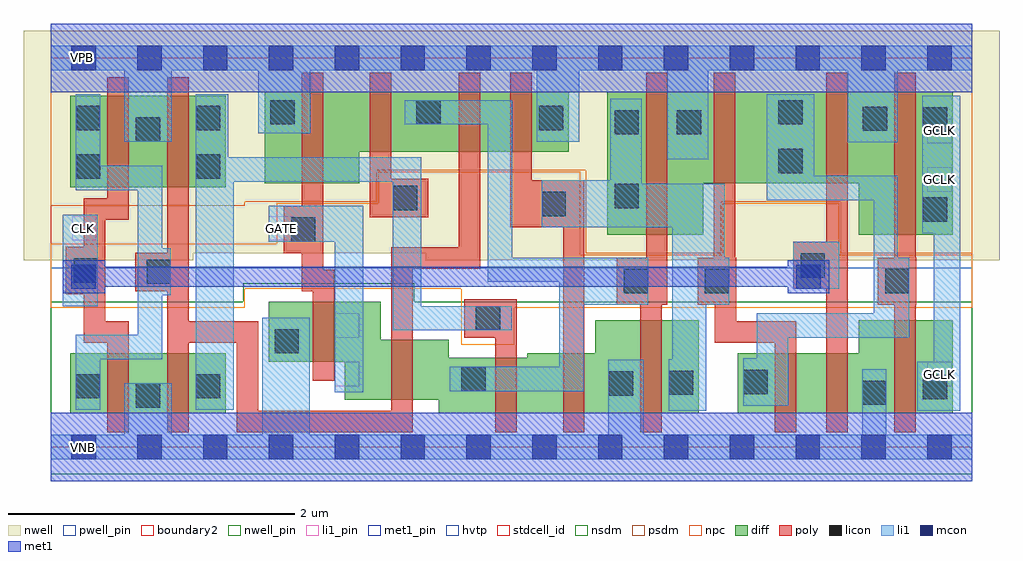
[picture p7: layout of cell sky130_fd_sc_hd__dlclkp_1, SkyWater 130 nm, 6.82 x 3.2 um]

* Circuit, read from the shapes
.subckt sky130_fd_sc_hd__dlclkp_1 CLK GATE GCLK VGND VNB VPB VPWR
XM1 VGND CLK n1 VNB sky130_fd_pr__nfet_01v8 w=0.42 l=0.15
XM2 n2 n1 VGND VNB sky130_fd_pr__nfet_01v8 w=0.42 l=0.15
XM3 n3 GATE VGND VNB sky130_fd_pr__nfet_01v8 w=0.42 l=0.15
XM4 n4 n1 n3 VNB sky130_fd_pr__nfet_01v8 w=0.42 l=0.15
XM5 n5 n2 n4 VNB sky130_fd_pr__nfet_01v8 w=0.39 l=0.15
XM6 VGND n6 n5 VNB sky130_fd_pr__nfet_01v8 w=0.42 l=0.15
XM7 n6 n4 VGND VNB sky130_fd_pr__nfet_01v8 w=0.65 l=0.15
XM8 n7 n6 n8 VNB sky130_fd_pr__nfet_01v8 w=0.42 l=0.15
XM9 VGND CLK n7 VNB sky130_fd_pr__nfet_01v8 w=0.42 l=0.15
XM10 GCLK n8 VGND VNB sky130_fd_pr__nfet_01v8 w=0.65 l=0.15
XM11 VPWR CLK n1 VPB sky130_fd_pr__pfet_01v8_hvt w=0.64 l=0.15
XM12 n2 n1 VPWR VPB sky130_fd_pr__pfet_01v8_hvt w=0.64 l=0.15
XM13 n9 GATE VPWR VPB sky130_fd_pr__pfet_01v8_hvt w=0.64 l=0.15
XM14 n4 n2 n9 VPB sky130_fd_pr__pfet_01v8_hvt w=0.42 l=0.15
XM15 n10 n1 n4 VPB sky130_fd_pr__pfet_01v8_hvt w=0.42 l=0.15
XM16 VPWR n6 n10 VPB sky130_fd_pr__pfet_01v8_hvt w=0.42 l=0.15
XM17 VPWR n4 n6 VPB sky130_fd_pr__pfet_01v8_hvt w=1 l=0.15
XM18 n8 n6 VPWR VPB sky130_fd_pr__pfet_01v8_hvt w=0.64 l=0.15
XM19 VPWR CLK n8 VPB sky130_fd_pr__pfet_01v8_hvt w=0.64 l=0.15
XM20 GCLK n8 VPWR VPB sky130_fd_pr__pfet_01v8_hvt w=1 l=0.15
.ends

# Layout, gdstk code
import gdstk
lib = gdstk.Library(unit=1e-6, precision=1e-09)
def R(c, l, rs):  # rectangles x0, y0, x1, y1
    for r in rs: c.add(gdstk.rectangle(r[:2], r[2:], *l))
def A(c, l, x, y, w, h, nx, ny, dx, dy):  # array of equal rectangles
    R(c, l, [(x+i*dx, y+j*dy, x+i*dx+w, y+j*dy+h) for i in range(nx) for j in range(ny)])
def P(c, l, *ps):  # polygons
    for p in ps: c.add(gdstk.Polygon(p, *l))
nwell_pin = (64, 16)
nwell = (64, 20)
diff = (65, 20)
poly = (66, 20)
licon = (66, 44)
li1_pin = (67, 16)
li1 = (67, 20)
mcon = (67, 44)
met1_pin = (68, 16)
met1 = (68, 20)
hvtp = (78, 44)
stdcell_id = (81, 4)
nsdm = (93, 44)
psdm = (94, 20)
npc = (95, 20)
pwell_pin = (122, 16)
boundary2 = (236, 0)

sky130_fd_sc_hd__dlclkp_ = lib.new_cell('sky130_fd_sc_hd__dlclkp_1')
R(sky130_fd_sc_hd__dlclkp_, nwell_pin, [(0.145,2.635,0.315,2.805)])
P(sky130_fd_sc_hd__dlclkp_, nwell, [(-0.19,1.305),(-0.19,2.91),(6.63,2.91),(6.63,1.305),(2.62,1.305),(2.62,1.355),(0.995,1.355),(0.995,1.305)])
R(sky130_fd_sc_hd__dlclkp_, diff, [(0.135,0.235,1.225,0.655), (0.135,1.815,1.225,2.455)])
P(sky130_fd_sc_hd__dlclkp_, diff, [(4.8,0.235),(4.8,0.655),(5.645,0.655),(5.645,0.885),(6.305,0.885),(6.305,0.235)],
  [(3.89,1.485),(3.89,2.485),(6.305,2.485),(6.305,1.485),(5.645,1.485),(5.645,1.845),(4.56,1.845),(4.56,1.485)],
  [(2.71,0.235),(2.71,0.33),(2.055,0.33),(2.055,0.595),(1.525,0.595),(1.525,1.015),(2.305,1.015),(2.305,0.75),(2.78,0.75),(2.78,0.625),(3.33,0.625),(3.33,0.655),(3.805,0.655),(3.805,0.885),(4.53,0.885),(4.53,0.235)],
  [(1.495,1.845),(1.495,2.485),(3.62,2.485),(3.62,2.065),(2.155,2.065),(2.155,1.845)])
R(sky130_fd_sc_hd__dlclkp_, poly, [(4.12,0.105,4.27,1), (3.955,0.995,4.28,1.325), (4.16,0.995,4.31,2.615), (1.755,1.355,1.905,2.615)])
P(sky130_fd_sc_hd__dlclkp_, poly, [(5.895,0.105),(5.895,0.995),(5.78,0.995),(5.78,1.325),(5.895,1.325),(5.895,2.615),(6.045,2.615),(6.045,1.325),(6.05,1.325),(6.05,0.995),(6.045,0.995),(6.045,0.105)],
  [(5.42,0.105),(5.42,1.105),(5.19,1.105),(5.19,1.435),(5.42,1.435),(5.42,2.615),(5.57,2.615),(5.57,0.105)],
  [(3.58,0.105),(3.58,1.535),(3.21,1.535),(3.21,2.615),(3.36,2.615),(3.36,1.865),(3.73,1.865),(3.73,0.105)],
  [(3.105,0.105),(3.105,0.765),(2.89,0.765),(2.89,1.035),(3.255,1.035),(3.255,0.105)],
  [(0.815,0.105),(0.815,1.09),(0.59,1.09),(0.59,1.36),(0.815,1.36),(0.815,2.585),(0.965,2.585),(0.965,0.88),(1.45,0.88),(1.45,0.255),(2.38,0.255),(2.38,1.395),(2.85,1.395),(2.85,2.615),(3,2.615),(3,1.245),(2.53,1.245),(2.53,0.105),(1.3,0.105),(1.3,0.73),(0.965,0.73),(0.965,0.105)],
  [(0.395,0.105),(0.395,0.73),(0.23,0.73),(0.23,1.07),(0.105,1.07),(0.105,1.4),(0.23,1.4),(0.23,1.74),(0.395,1.74),(0.395,2.585),(0.545,2.585),(0.545,1.59),(0.38,1.59),(0.38,0.88),(0.545,0.88),(0.545,0.105)],
  [(2.23,1.605),(2.23,2.615),(2.38,2.615),(2.38,1.875),(2.64,1.875),(2.64,1.605)],
  [(1.83,0.465),(1.83,1.09),(1.755,1.09),(1.755,1.355),(1.63,1.355),(1.63,1.685),(1.905,1.685),(1.905,1.24),(1.98,1.24),(1.98,0.465)],
  [(5.06,0.105),(5.06,0.73),(4.855,0.73),(4.855,0.88),(5.21,0.88),(5.21,0.105)],
  [(4.64,0.73),(4.64,0.995),(4.52,0.995),(4.52,1.325),(4.635,1.325),(4.635,2.615),(4.785,2.615),(4.785,1.325),(4.79,1.325),(4.79,0.88),(4.905,0.88),(4.905,0.73)])
R(sky130_fd_sc_hd__dlclkp_, licon, [(0.595,0.275,0.765,0.445), (5.67,0.295,5.84,0.465), (6.095,0.335,6.265,0.505), (0.175,0.34,0.345,0.51), (1.015,0.34,1.185,0.51), (3.9,0.36,4.07,0.53), (4.32,0.365,4.49,0.535), (4.84,0.37,5.01,0.54), (2.87,0.39,3.04,0.56), (1.565,0.655,1.735,0.825), (2.97,0.815,3.14,0.985), (4.005,1.075,4.175,1.245), (4.57,1.075,4.74,1.245), (5.83,1.075,6,1.245), (0.67,1.14,0.84,1.31), (0.16,1.15,0.33,1.32), (5.24,1.185,5.41,1.355), (1.68,1.435,1.85,1.605), (6.095,1.575,6.265,1.745), (3.43,1.615,3.6,1.785), (2.39,1.655,2.56,1.825), (3.94,1.67,4.11,1.84), (0.175,1.875,0.345,2.045), (1.015,1.875,1.185,2.045), (5.085,1.915,5.255,2.085), (0.595,2.135,0.765,2.305), (3.94,2.185,4.11,2.355), (4.375,2.185,4.545,2.355), (6.095,2.205,6.265,2.375), (5.675,2.21,5.845,2.38), (0.175,2.215,0.345,2.385), (1.015,2.215,1.185,2.385), (3.41,2.215,3.58,2.385), (1.535,2.255,1.705,2.425), (2.555,2.255,2.725,2.425), (5.085,2.255,5.255,2.425)])
R(sky130_fd_sc_hd__dlclkp_, li1_pin, [(1.985,0.425,2.155,0.595), (6.125,0.425,6.295,0.595), (1.985,0.765,2.155,0.935), (0.15,1.445,0.32,1.615), (1.525,1.445,1.695,1.615), (6.125,1.785,6.295,1.955), (6.125,2.125,6.295,2.295)])
R(sky130_fd_sc_hd__dlclkp_, li1, [(0.085,0.985,0.33,1.625), (5.19,1.105,5.51,1.435)])
P(sky130_fd_sc_hd__dlclkp_, li1, [(0.175,0.26),(0.175,0.785),(0.61,0.785),(0.61,1.795),(0.175,1.795),(0.175,2.465),(0.345,2.465),(0.345,1.965),(0.78,1.965),(0.78,1.39),(0.84,1.39),(0.84,1.06),(0.78,1.06),(0.78,0.615),(0.345,0.615),(0.345,0.26)],
  [(0,-0.085),(0,0.085),(0.515,0.085),(0.515,0.445),(0.845,0.445),(0.845,0.085),(1.48,0.085),(1.48,0.905),(1.81,0.905),(1.81,0.085),(3.895,0.085),(3.895,0.61),(4.145,0.61),(4.145,0.085),(5.67,0.085),(5.67,0.545),(5.84,0.545),(5.84,0.085),(6.44,0.085),(6.44,-0.085)],
  [(4.31,2.01),(4.31,2.635),(3.695,2.635),(3.695,2.135),(3.395,2.135),(3.395,2.635),(1.815,2.635),(1.815,2.195),(1.45,2.195),(1.45,2.635),(0.845,2.635),(0.845,2.135),(0.515,2.135),(0.515,2.635),(0,2.635),(0,2.805),(6.44,2.805),(6.44,2.635),(5.92,2.635),(5.92,2.13),(5.57,2.13),(5.57,2.635),(4.595,2.635),(4.595,2.01)],
  [(6.055,0.255),(6.055,0.595),(6.17,0.595),(6.17,1.495),(6.09,1.495),(6.09,2.455),(6.355,2.455),(6.355,0.255)],
  [(4.84,0.29),(4.84,0.62),(4.935,0.62),(4.935,0.935),(5.75,0.935),(5.75,1.725),(5.005,1.725),(5.005,2.465),(5.335,2.465),(5.335,1.895),(5.92,1.895),(5.92,1.325),(6,1.325),(6,0.765),(5.155,0.765),(5.155,0.29)],
  [(4.32,0.255),(4.32,0.615),(4.345,0.615),(4.345,1.535),(3.43,1.535),(3.43,1.865),(3.91,1.865),(3.91,2.435),(4.13,2.435),(4.13,1.84),(4.71,1.84),(4.71,1.325),(4.74,1.325),(4.74,0.995),(4.58,0.995),(4.58,0.255)],
  [(2.79,0.39),(2.79,0.56),(3.555,0.56),(3.555,1.155),(3.055,1.155),(3.055,2.255),(2.475,2.255),(2.475,2.425),(3.225,2.425),(3.225,1.325),(4.175,1.325),(4.175,0.995),(3.725,0.995),(3.725,0.39)],
  [(1.015,0.26),(1.015,2.465),(1.24,2.465),(1.24,2.025),(2.59,2.025),(2.59,0.985),(3.22,0.985),(3.22,0.815),(2.39,0.815),(2.39,1.855),(1.28,1.855),(1.28,0.26)],
  [(1.985,0.385),(1.985,1.435),(1.525,1.435),(1.525,1.685),(2.185,1.685),(2.185,0.385)])
A(sky130_fd_sc_hd__dlclkp_, mcon, 0.145, -0.085, 0.17, 0.17, 14, 2, 0.46, 2.72)
R(sky130_fd_sc_hd__dlclkp_, mcon, [(0.145,1.105,0.315,1.275), (5.21,1.105,5.38,1.275)])
R(sky130_fd_sc_hd__dlclkp_, met1_pin, [(0.15,-0.085,0.32,0.085), (0.15,2.635,0.32,2.805)])
P(sky130_fd_sc_hd__dlclkp_, met1, [(0.085,1.075),(0.085,1.305),(0.38,1.305),(0.38,1.26),(5.15,1.26),(5.15,1.305),(5.44,1.305),(5.44,1.075),(5.15,1.075),(5.15,1.12),(0.38,1.12),(0.38,1.075)])
R(sky130_fd_sc_hd__dlclkp_, hvtp, [(0,1.25,6.44,2.72)])
R(sky130_fd_sc_hd__dlclkp_, stdcell_id, [(0,0,6.44,2.72)])
P(sky130_fd_sc_hd__dlclkp_, nsdm, [(0,-0.19),(0,1.015),(1.345,1.015),(1.345,1.145),(2.54,1.145),(2.54,1.015),(6.44,1.015),(6.44,-0.19)])
P(sky130_fd_sc_hd__dlclkp_, psdm, [(3.74,1.355),(3.74,1.935),(2.28,1.935),(2.28,1.715),(1.355,1.715),(1.355,1.685),(0,1.685),(0,2.91),(6.44,2.91),(6.44,1.355),(5.52,1.355),(5.52,1.715),(4.685,1.715),(4.685,1.355)])
P(sky130_fd_sc_hd__dlclkp_, npc, [(2.87,0.715),(2.87,1.105),(1.355,1.105),(1.355,0.975),(0,0.975),(0,1.42),(1.58,1.42),(1.58,1.705),(2.29,1.705),(2.29,1.925),(3.7,1.925),(3.7,1.345),(4.695,1.345),(4.695,1.705),(5.51,1.705),(5.51,1.345),(6.44,1.345),(6.44,0.975),(3.24,0.975),(3.24,0.715)])
R(sky130_fd_sc_hd__dlclkp_, pwell_pin, [(0.15,-0.085,0.32,0.085)])
R(sky130_fd_sc_hd__dlclkp_, boundary2, [(0,0,6.44,2.72)])
sky130_fd_sc_hd__dlclkp_.add(gdstk.FlexPath([(0,0),(6.44,0)], 0.48, ends="flush", simple_path=True, layer=68, datatype=20))  # met1
sky130_fd_sc_hd__dlclkp_.add(gdstk.FlexPath([(0,2.72),(6.44,2.72)], 0.48, ends="flush", simple_path=True, layer=68, datatype=20))  # met1
sky130_fd_sc_hd__dlclkp_.add(gdstk.Label('GATE', (1.61,1.53), layer=67, texttype=5))
sky130_fd_sc_hd__dlclkp_.add(gdstk.Label('GCLK', (6.21,0.51), layer=67, texttype=5))
sky130_fd_sc_hd__dlclkp_.add(gdstk.Label('GCLK', (6.21,2.21), layer=67, texttype=5))
sky130_fd_sc_hd__dlclkp_.add(gdstk.Label('GCLK', (6.21,1.87), layer=67, texttype=5))
sky130_fd_sc_hd__dlclkp_.add(gdstk.Label('CLK', (0.23,1.53), layer=67, texttype=5))
sky130_fd_sc_hd__dlclkp_.add(gdstk.Label('VNB', (0.23,0), layer=64, texttype=59))
sky130_fd_sc_hd__dlclkp_.add(gdstk.Label('VPB', (0.225,2.72), layer=64, texttype=5))
sky130_fd_sc_hd__dlclkp_.add(gdstk.Label('VGND', (0.23,0), layer=68, texttype=5))
sky130_fd_sc_hd__dlclkp_.add(gdstk.Label('VPWR', (0.23,2.72), layer=68, texttype=5))
sky130_fd_sc_hd__dlclkp_.add(gdstk.Label('dlclkp_1', (0,0), layer=83, texttype=44))

lib.write_gds('sky130_fd_sc_hd__dlclkp_1.gds')
